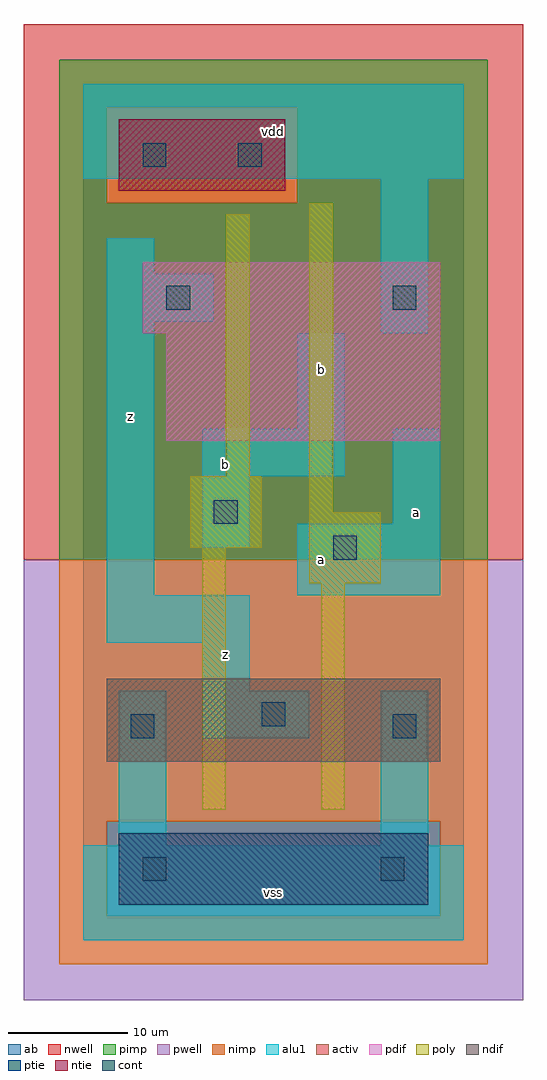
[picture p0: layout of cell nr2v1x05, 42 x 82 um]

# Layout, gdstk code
import gdstk
lib = gdstk.Library(unit=1e-6, precision=1e-09)
def R(c, l, rs):  # rectangles x0, y0, x1, y1
    for r in rs: c.add(gdstk.rectangle(r[:2], r[2:], *l))
ndif = (3, 0)
pdif = (4, 0)
ntie = (5, 0)
ptie = (6, 0)
cont = (25, 0)
pwell = (41, 0)
nwell = (42, 0)
activ = (43, 0)
pimp = (44, 0)
nimp = (45, 0)
poly = (46, 0)
alu1 = (49, 0)
ab = (63, 0)

nr2v1x05 = lib.new_cell('nr2v1x05')
R(nr2v1x05, ndif, [(2,15,30,22)])
R(nr2v1x05, pdif, [(7,42,30,51), (5,51,30,57)])
R(nr2v1x05, ntie, [(3,63,17,69)])
R(nr2v1x05, ptie, [(3,3,29,9)])
R(nr2v1x05, cont, [(5,5,7,7), (25,5,27,7), (4,17,6,19), (26,17,28,19), (15,18,17,20), (21,32,23,34), (11,35,13,37), (7,53,9,55), (26,53,28,55), (5,65,7,67), (13,65,15,67)])
R(nr2v1x05, pwell, [(-5,-5,37,32)])
R(nr2v1x05, nwell, [(-5,32,37,77)])
R(nr2v1x05, activ, [(3,3,29,9), (2,15,30,22), (7,42,30,51), (5,51,30,57), (3,63,17,69)])
R(nr2v1x05, pimp, [(2,2,30,10), (-2,32,34,62), (-2,62,2,70), (18,62,34,70), (-2,70,34,74)])
R(nr2v1x05, nimp, [(-2,-2,34,2), (-2,2,2,10), (30,2,34,10), (-2,10,34,32), (2,62,18,70)])
R(nr2v1x05, poly, [(10,11,12,33), (20,11,22,30), (19,30,25,36), (9,33,15,39), (19,36,21,62), (12,39,14,61)])
R(nr2v1x05, alu1, [(0,0,32,8), (3,8,7,21), (25,8,29,21), (10,17,19,21), (10,21,14,25), (2,25,14,29), (2,29,6,52), (18,29,30,35), (10,33,14,39), (26,35,30,43), (10,39,22,43), (18,43,22,51), (25,51,29,64), (2,52,11,56), (2,56,6,59), (0,64,32,72)])
R(nr2v1x05, ab, [(0,0,32,72)])
nr2v1x05.add(gdstk.Label('z', (4,44), layer=49, texttype=0))
nr2v1x05.add(gdstk.Label('z', (12,24), layer=49, texttype=0))
nr2v1x05.add(gdstk.Label('b', (12,40), layer=49, texttype=0))
nr2v1x05.add(gdstk.Label('vss', (16,4), layer=49, texttype=0))
nr2v1x05.add(gdstk.Label('a', (20,32), layer=49, texttype=0))
nr2v1x05.add(gdstk.Label('b', (20,48), layer=49, texttype=0))
nr2v1x05.add(gdstk.Label('vdd', (16,68), layer=49, texttype=0))
nr2v1x05.add(gdstk.Label('a', (28,36), layer=49, texttype=0))

lib.write_gds('nr2v1x05.gds')
